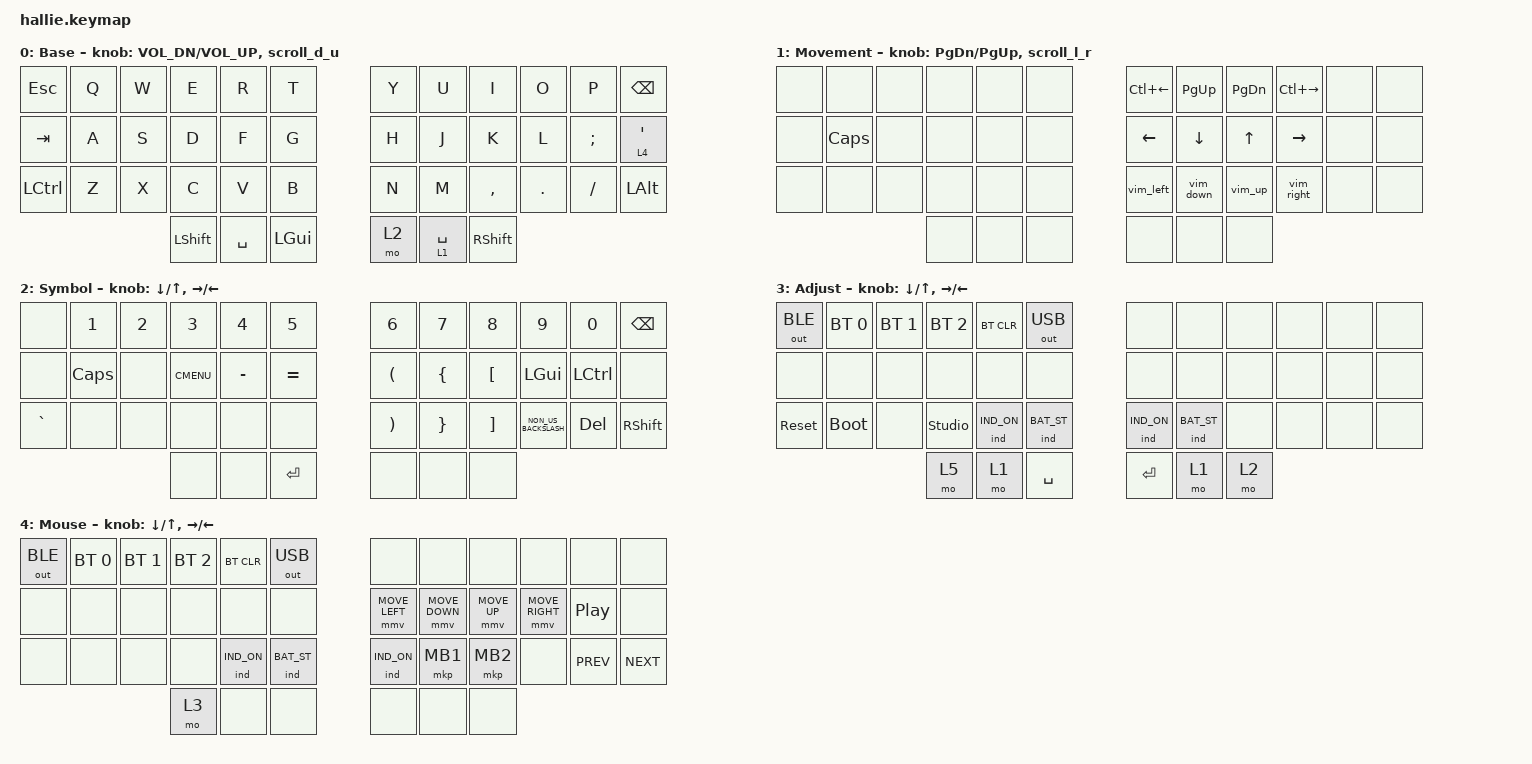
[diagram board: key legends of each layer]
#undef ZMK_BEHAVIORS_KEEP_ALL

#define ZMK_BEHAVIORS_KEEP_IND
#define ZMK_BEHAVIORS_KEEP_BT
#define ZMK_BEHAVIORS_KEEP_GRESC
#define ZMK_BEHAVIORS_KEEP_SYS_RESET
#define ZMK_BEHAVIORS_KEEP_BOOTLOADER
#define ZMK_BEHAVIORS_KEEP_CAPS_WORD
#define ZMK_BEHAVIORS_KEEP_KEY_REPEAT
#define ZMK_BEHAVIORS_KEEP_KT
#define ZMK_BEHAVIORS_KEEP_LT
#define ZMK_BEHAVIORS_KEEP_MT
#define ZMK_BEHAVIORS_KEEP_SK
#define ZMK_BEHAVIORS_KEEP_STICKY_LAYER
#define ZMK_BEHAVIORS_KEEP_TO
#define ZMK_BEHAVIORS_KEEP_TOG
#define ZMK_BEHAVIORS_KEEP_TRANS
#undef ZMK_POINTING_DEFAULT_MOVE_VAL
#define ZMK_POINTING_DEFAULT_MOVE_VAL 1600  // default: 600 (board default: 800)

// #define ZMK_POINTING_DEFAULT_SCRL_VAL 20    // default: 10

#include <behaviors.dtsi>
#include <behaviors/indicators.dtsi>

#include <dt-bindings/zmk/bt.h>
#include <dt-bindings/zmk/keys.h>
#include <dt-bindings/zmk/outputs.h>
#include <dt-bindings/zmk/indicators.h>
#include <dt-bindings/zmk/pointing.h>

#define DEF 0
#define LWR 1
#define RSE 2
#define ADJ 3
#define MML 4

&lt { tapping-term-ms = <120>; };

&mt { tapping-term-ms = <120>; };

/ {

    behaviors {
		scroll_d_u: behavior_sensor_rotate_mouse_wheel_up_down {
			compatible = "zmk,behavior-sensor-rotate";
			#sensor-binding-cells = <0>;
			tap-ms = <20>;
			bindings = <&msc SCRL_DOWN>, <&msc SCRL_UP>;
		};
	};

    macros {
        vim_left: vim_left {
            compatible = "zmk,behavior-macro";
            #binding-cells = <0>;
            bindings = <&kp LC(W) &kp H>;
            label = "VIM_LEFT";
        };

        vim_down: vim_down {
            compatible = "zmk,behavior-macro";
            #binding-cells = <0>;
            bindings = <&kp LC(W) &kp J>;
            label = "VIM_DOWN";
        };

        vim_up: vim_up {
            compatible = "zmk,behavior-macro";
            #binding-cells = <0>;
            bindings = <&kp LC(W) &kp K>;
            label = "VIM_UP";
        };

        vim_right: vim_right {
            compatible = "zmk,behavior-macro";
            #binding-cells = <0>;
            bindings = <&kp LC(W) &kp L>;
            label = "VIM_RIGHT";
        };

    };

    keymap {
        compatible = "zmk,keymap";

        default_layer {
            display-name = "Base";
            bindings = <
&kp ESC    &kp Q  &kp W  &kp E       &kp R      &kp T           &kp Y  &kp U        &kp I       &kp O    &kp P      &kp BACKSPACE
&kp TAB    &kp A  &kp S  &kp D       &kp F      &kp G           &kp H  &kp J        &kp K       &kp L    &kp SEMI   &lt 4 SQT
&kp LCTRL  &kp Z  &kp X  &kp C       &kp V      &kp B           &kp N  &kp M        &kp COMMA   &kp DOT  &kp SLASH  &kp LEFT_ALT
                         &kp LSHIFT  &kp SPACE  &kp LEFT_GUI    &mo 2  &lt 1 SPACE  &kp RSHIFT
            >;

            sensor-bindings = <&inc_dec_kp C_VOL_DN C_VOL_UP &scroll_d_u>;
        };

        lower_layer {
            display-name = "Movement";
            bindings = <
&none  &none         &none  &none  &none  &none    &kp LC(LEFT)  &kp PAGE_UP  &kp PAGE_DOWN  &kp LC(RIGHT)  &none  &none
&none  &kp CAPSLOCK  &none  &none  &none  &none    &kp LEFT      &kp DOWN     &kp UP         &kp RIGHT      &none  &none
&none  &none         &none  &none  &none  &none    &vim_left     &vim_down    &vim_up        &vim_right     &none  &none
                            &none  &none  &none    &none         &none        &none
            >;

            sensor-bindings = <&inc_dec_kp PG_DN PG_UP &scroll_l_r>;
        };

        raise_layer {
            display-name = "Symbol";
            bindings = <
&none      &kp NUMBER_1  &kp NUMBER_2  &kp NUMBER_3  &kp NUMBER_4  &kp N5        &kp NUMBER_6           &kp NUMBER_7     &kp N8             &kp N9                &kp N0     &kp BACKSPACE
&none      &kp CAPSLOCK  &none         &kp K_CMENU   &kp MINUS     &kp EQUAL     &kp LEFT_PARENTHESIS   &kp LEFT_BRACE   &kp LEFT_BRACKET   &kp LEFT_GUI          &kp LCTRL  &none
&kp GRAVE  &none         &none         &none         &none         &none         &kp RIGHT_PARENTHESIS  &kp RIGHT_BRACE  &kp RIGHT_BRACKET  &kp NON_US_BACKSLASH  &kp DEL    &kp RSHIFT
                                       &none         &none         &kp RETURN    &none                  &none            &none
            >;

            sensor-bindings = <&inc_dec_kp DOWN_ARROW UP_ARROW &inc_dec_kp RIGHT_ARROW LEFT_ARROW>;
        };

        adjust_layer {
            display-name = "Adjust";
            bindings = <
&out OUT_BLE  &bt BT_SEL 0  &bt BT_SEL 1  &bt BT_SEL 2    &bt BT_CLR   &out OUT_USB    &none        &none        &none  &none  &none  &none
&none         &none         &none         &none           &none        &none           &none        &none        &none  &none  &none  &none
&sys_reset    &bootloader   &none         &studio_unlock  &ind IND_ON  &ind BAT_ST     &ind IND_ON  &ind BAT_ST  &none  &none  &none  &none
                                          &mo 5           &mo 1        &kp SPACE       &kp ENTER    &mo 1        &mo 2
            >;

            sensor-bindings = <&inc_dec_kp DOWN_ARROW UP_ARROW &inc_dec_kp RIGHT_ARROW LEFT_ARROW>;
        };

        mouse_layer {
            display-name = "Mouse";
            bindings = <
&out OUT_BLE  &bt BT_SEL 0  &bt BT_SEL 1  &bt BT_SEL 2  &bt BT_CLR   &out OUT_USB    &none           &none           &none         &none            &none             &none
&none         &none         &none         &none         &none        &none           &mmv MOVE_LEFT  &mmv MOVE_DOWN  &mmv MOVE_UP  &mmv MOVE_RIGHT  &kp C_PLAY_PAUSE  &none
&none         &none         &none         &none         &ind IND_ON  &ind BAT_ST     &ind IND_ON     &mkp MB1        &mkp MB2      &none            &kp C_PREV        &kp C_NEXT
                                          &mo 3         &none        &none           &none           &none           &none
            >;

            sensor-bindings = <&inc_dec_kp DOWN_ARROW UP_ARROW &inc_dec_kp RIGHT_ARROW LEFT_ARROW>;
        };

        extra1 { status = "reserved"; };

        extra2 { status = "reserved"; };

        extra3 { status = "reserved"; };

        extra4 { status = "reserved"; };
    };
};
